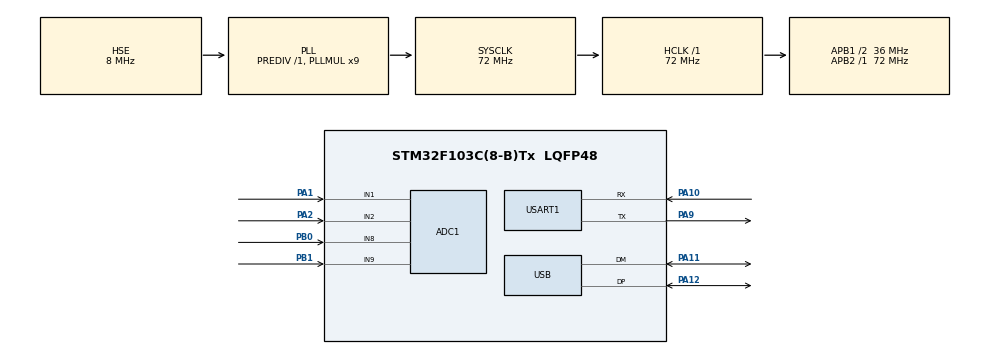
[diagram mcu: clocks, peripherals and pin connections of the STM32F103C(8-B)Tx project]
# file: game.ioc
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ADC1.Channel-0\#ChannelRegularConversion=ADC_CHANNEL_1
ADC1.Channel-1\#ChannelRegularConversion=ADC_CHANNEL_2
ADC1.Channel-2\#ChannelRegularConversion=ADC_CHANNEL_8
ADC1.Channel-3\#ChannelRegularConversion=ADC_CHANNEL_9
ADC1.ContinuousConvMode=DISABLE
ADC1.DataAlign=ADC_DATAALIGN_RIGHT
ADC1.DiscontinuousConvMode=ENABLE
ADC1.NbrOfConversion=4
ADC1.NbrOfConversionFlag=1
ADC1.Rank-0\#ChannelRegularConversion=1
ADC1.Rank-1\#ChannelRegularConversion=2
ADC1.Rank-2\#ChannelRegularConversion=3
ADC1.Rank-3\#ChannelRegularConversion=4
ADC1.SamplingTime-0\#ChannelRegularConversion=ADC_SAMPLETIME_1CYCLE_5
ADC1.SamplingTime-1\#ChannelRegularConversion=ADC_SAMPLETIME_1CYCLE_5
ADC1.SamplingTime-2\#ChannelRegularConversion=ADC_SAMPLETIME_1CYCLE_5
ADC1.SamplingTime-3\#ChannelRegularConversion=ADC_SAMPLETIME_1CYCLE_5
ADC1.master=1
Mcu.Family=STM32F1
Mcu.Name=STM32F103C(8-B)Tx
Mcu.Package=LQFP48
NVIC.PriorityGroup=NVIC_PRIORITYGROUP_4
NVIC.USB_LP_CAN1_RX0_IRQn=true\:0\:0\:false\:false\:true\:false\:true
PA1.Signal=ADCx_IN1
PA10.Mode=Asynchronous
PA10.Signal=USART1_RX
PA11.Mode=Device
PA11.Signal=USB_DM
PA12.Mode=Device
PA12.Signal=USB_DP
PA13.Mode=Serial_Wire
PA13.Signal=SYS_JTMS-SWDIO
PA14.Mode=Serial_Wire
PA14.Signal=SYS_JTCK-SWCLK
PA2.Signal=ADCx_IN2
PA9.Mode=Asynchronous
PA9.Signal=USART1_TX
PB0.Signal=ADCx_IN8
PB1.Signal=ADCx_IN9
PD0-OSC_IN.Mode=HSE-External-Oscillator
PD0-OSC_IN.Signal=RCC_OSC_IN
PD1-OSC_OUT.Mode=HSE-External-Oscillator
PD1-OSC_OUT.Signal=RCC_OSC_OUT
ProjectManager.HeapSize=0x200
ProjectManager.StackSize=0x400
ProjectManager.TargetToolchain=MDK-ARM V5.27
RCC.ADCPresc=RCC_ADCPCLK2_DIV6
RCC.AHBFreq_Value=72000000
RCC.APB1CLKDivider=RCC_HCLK_DIV2
RCC.APB1Freq_Value=36000000
RCC.APB1TimFreq_Value=72000000
RCC.APB2Freq_Value=72000000
RCC.APB2TimFreq_Value=72000000
RCC.HCLKFreq_Value=72000000
RCC.PLLMUL=RCC_PLL_MUL9
RCC.PLLSourceVirtual=RCC_PLLSOURCE_HSE
RCC.SYSCLKFreq_VALUE=72000000
RCC.SYSCLKSource=RCC_SYSCLKSOURCE_PLLCLK
RCC.USBFreq_Value=48000000
RCC.USBPrescaler=RCC_USBCLKSOURCE_PLL_DIV1_5
SH.ADCx_IN1.0=ADC1_IN1,IN1
SH.ADCx_IN2.0=ADC1_IN2,IN2
SH.ADCx_IN8.0=ADC1_IN8,IN8
SH.ADCx_IN9.0=ADC1_IN9,IN9
USART1.VirtualMode=VM_ASYNC
USB_DEVICE.CLASS_NAME_FS=HID
USB_DEVICE.MANUFACTURER_STRING=game
USB_DEVICE.VirtualMode=Hid
USB_DEVICE.VirtualModeFS=Hid_FS
VP_USB_DEVICE_VS_USB_DEVICE_HID_FS.Mode=HID_FS
board=custom

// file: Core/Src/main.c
/* USER CODE BEGIN Header */
/**
  ******************************************************************************
  * @file           : main.c
  * @brief          : Main program body
  ******************************************************************************
  * @attention
  *
  * <h2><center>&copy; Copyright (c) 2021 STMicroelectronics.
  * All rights reserved.</center></h2>
  *
  * This software component is licensed by ST under Ultimate Liberty license
  * SLA0044, the "License"; You may not use this file except in compliance with
  * the License. You may obtain a copy of the License at:
  *                             www.st.com/SLA0044
  *
  ******************************************************************************
  */
/* USER CODE END Header */
#include "main.h"
#include "adc.h"
#include "usart.h"
#include "usb_device.h"
#include "gpio.h"

/* USER CODE BEGIN Includes */
#include "usbd_hid.h"
/* USER CODE END Includes */

void SystemClock_Config(void);
/* USER CODE BEGIN PFP */
void set_data(void);
extern USBD_HandleTypeDef hUsbDeviceFS;
uint16_t adc_value[4];
uint8_t MouseDate[4];
/* USER CODE END PFP */

int main(void)
{
  /* USER CODE BEGIN 1 */
  int i=0;
  /* USER CODE END 1 */

  /* MCU Configuration--------------------------------------------------------*/

  /* Reset of all peripherals, Initializes the Flash interface and the Systick. */
  HAL_Init();

  /* Configure the system clock */
  SystemClock_Config();

  /* Initialize all configured peripherals */
  MX_GPIO_Init();
  MX_ADC1_Init();
  MX_USB_DEVICE_Init();
  MX_USART1_UART_Init();

  /* Infinite loop */
  while (1)
  {

    /* USER CODE BEGIN 3 */
		 for(i=0;i<4;i++)
		{
		HAL_ADC_Start(&hadc1);
		HAL_ADC_PollForConversion(&hadc1,0xffff);
	    adc_value[i]=HAL_ADC_GetValue(&hadc1);
		}
		HAL_ADC_Stop(&hadc1);
		set_data();
		USBD_HID_SendReport(&hUsbDeviceFS,( uint8_t*)MouseDate,sizeof(MouseDate));
		HAL_Delay(10);
  }
  /* USER CODE END 3 */
}

void SystemClock_Config(void)
{
  RCC_OscInitTypeDef RCC_OscInitStruct = {0};
  RCC_ClkInitTypeDef RCC_ClkInitStruct = {0};
  RCC_PeriphCLKInitTypeDef PeriphClkInit = {0};

  /** Initializes the RCC Oscillators according to the specified parameters
  * in the RCC_OscInitTypeDef structure.
  */
  RCC_OscInitStruct.OscillatorType = RCC_OSCILLATORTYPE_HSE;
  RCC_OscInitStruct.HSEState = RCC_HSE_ON;
  RCC_OscInitStruct.HSEPredivValue = RCC_HSE_PREDIV_DIV1;
  RCC_OscInitStruct.HSIState = RCC_HSI_ON;
  RCC_OscInitStruct.PLL.PLLState = RCC_PLL_ON;
  RCC_OscInitStruct.PLL.PLLSource = RCC_PLLSOURCE_HSE;
  RCC_OscInitStruct.PLL.PLLMUL = RCC_PLL_MUL9;
  if (HAL_RCC_OscConfig(&RCC_OscInitStruct) != HAL_OK)
  {
    Error_Handler();
  }
  /** Initializes the CPU, AHB and APB buses clocks
  */
  RCC_ClkInitStruct.ClockType = RCC_CLOCKTYPE_HCLK|RCC_CLOCKTYPE_SYSCLK
                              |RCC_CLOCKTYPE_PCLK1|RCC_CLOCKTYPE_PCLK2;
  RCC_ClkInitStruct.SYSCLKSource = RCC_SYSCLKSOURCE_PLLCLK;
  RCC_ClkInitStruct.AHBCLKDivider = RCC_SYSCLK_DIV1;
  RCC_ClkInitStruct.APB1CLKDivider = RCC_HCLK_DIV2;
  RCC_ClkInitStruct.APB2CLKDivider = RCC_HCLK_DIV1;

  if (HAL_RCC_ClockConfig(&RCC_ClkInitStruct, FLASH_LATENCY_2) != HAL_OK)
  {
    Error_Handler();
  }
  PeriphClkInit.PeriphClockSelection = RCC_PERIPHCLK_ADC|RCC_PERIPHCLK_USB;
  PeriphClkInit.AdcClockSelection = RCC_ADCPCLK2_DIV6;
  PeriphClkInit.UsbClockSelection = RCC_USBCLKSOURCE_PLL_DIV1_5;
  if (HAL_RCCEx_PeriphCLKConfig(&PeriphClkInit) != HAL_OK)
  {
    Error_Handler();
  }
}

/* USER CODE BEGIN 4 */
void set_data()
{
 MouseDate[0]=127-(float)adc_value[0]/4095*127;
 MouseDate[1]=127-(float)adc_value[1]/4095*127;
	MouseDate[2]=127-(float)adc_value[2]/4095*127;
 MouseDate[3]=127-(float)adc_value[3]/4095*127;
if(abs((int)MouseDate[0])<5)
   MouseDate[0]=0;
if(abs((int)MouseDate[1])<5)
   MouseDate[1]=0;
if(abs((int)MouseDate[2])<5)
   MouseDate[2]=0;
if(abs((int)MouseDate[3])<5)
   MouseDate[3]=0;
}
/* USER CODE END 4 */

void Error_Handler(void)
{
  __disable_irq();
  while (1)
  {
  }
}

/************************ (C) COPYRIGHT STMicroelectronics *****END OF FILE****/
